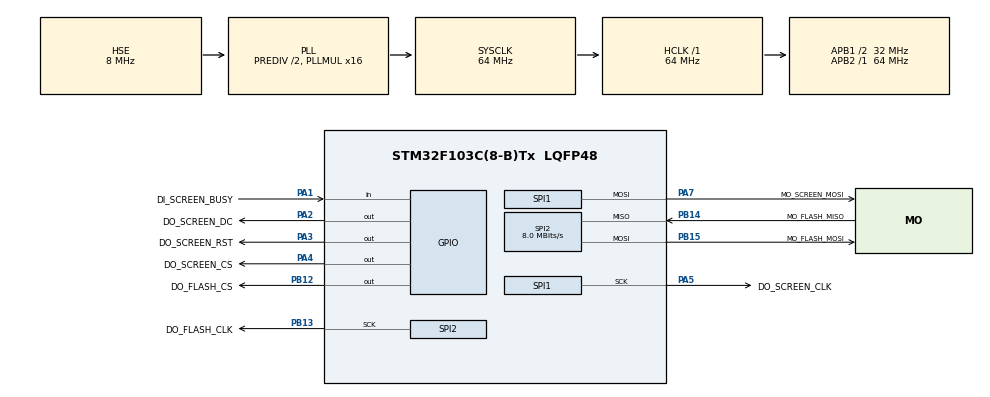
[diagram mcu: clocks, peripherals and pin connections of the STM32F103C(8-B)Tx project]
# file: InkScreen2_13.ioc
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Mcu.Family=STM32F1
Mcu.Name=STM32F103C(8-B)Tx
Mcu.Package=LQFP48
NVIC.PriorityGroup=NVIC_PRIORITYGROUP_4
PA1.GPIO_Label=DI_SCREEN_BUSY
PA1.Signal=GPIO_Input
PA13.Mode=Serial_Wire
PA13.Signal=SYS_JTMS-SWDIO
PA14.Mode=Serial_Wire
PA14.Signal=SYS_JTCK-SWCLK
PA2.GPIO_Label=DO_SCREEN_DC
PA2.Signal=GPIO_Output
PA3.GPIO_Label=DO_SCREEN_RST
PA3.Signal=GPIO_Output
PA4.GPIO_Label=DO_SCREEN_CS
PA4.PinState=GPIO_PIN_SET
PA4.Signal=GPIO_Output
PA5.GPIO_Label=DO_SCREEN_CLK
PA5.Mode=TX_Only_Simplex_Unidirect_Master
PA5.Signal=SPI1_SCK
PA7.GPIO_Label=MO_SCREEN_MOSI
PA7.Mode=TX_Only_Simplex_Unidirect_Master
PA7.Signal=SPI1_MOSI
PB12.GPIO_Label=DO_FLASH_CS
PB12.PinState=GPIO_PIN_SET
PB12.Signal=GPIO_Output
PB13.GPIO_Label=DO_FLASH_CLK
PB13.Mode=Full_Duplex_Master
PB13.Signal=SPI2_SCK
PB14.GPIO_Label=MO_FLASH_MISO
PB14.Mode=Full_Duplex_Master
PB14.Signal=SPI2_MISO
PB15.GPIO_Label=MO_FLASH_MOSI
PB15.Mode=Full_Duplex_Master
PB15.Signal=SPI2_MOSI
PD0-OSC_IN.Mode=HSE-External-Oscillator
PD0-OSC_IN.Signal=RCC_OSC_IN
PD1-OSC_OUT.Mode=HSE-External-Oscillator
PD1-OSC_OUT.Signal=RCC_OSC_OUT
ProjectManager.HeapSize=0x200
ProjectManager.StackSize=0x1500
ProjectManager.TargetToolchain=MDK-ARM V5.27
RCC.AHBFreq_Value=64000000
RCC.APB1CLKDivider=RCC_HCLK_DIV2
RCC.APB1Freq_Value=32000000
RCC.APB1TimFreq_Value=64000000
RCC.APB2Freq_Value=64000000
RCC.APB2TimFreq_Value=64000000
RCC.HCLKFreq_Value=64000000
RCC.HSEDivPLL=RCC_HSE_PREDIV_DIV2
RCC.PLLMUL=RCC_PLL_MUL16
RCC.PLLSourceVirtual=RCC_PLLSOURCE_HSE
RCC.SYSCLKFreq_VALUE=64000000
RCC.SYSCLKSource=RCC_SYSCLKSOURCE_PLLCLK
RCC.USBFreq_Value=64000000
SPI1.BaudRatePrescaler=SPI_BAUDRATEPRESCALER_32
SPI1.CalculateBaudRate=2.0 MBits/s
SPI1.Direction=SPI_DIRECTION_2LINES
SPI1.Mode=SPI_MODE_MASTER
SPI1.VirtualType=VM_MASTER
SPI2.BaudRatePrescaler=SPI_BAUDRATEPRESCALER_4
SPI2.CLKPhase=SPI_PHASE_2EDGE
SPI2.CLKPolarity=SPI_POLARITY_HIGH
SPI2.CalculateBaudRate=8.0 MBits/s
SPI2.Direction=SPI_DIRECTION_2LINES
SPI2.Mode=SPI_MODE_MASTER
SPI2.VirtualType=VM_MASTER
board=custom

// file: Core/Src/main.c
/* USER CODE BEGIN Header */
/**
  ******************************************************************************
  * @file           : main.c
  * @brief          : Main program body
  ******************************************************************************
  * @attention
  *
  * Copyright (c) 2022 STMicroelectronics.
  * All rights reserved.
  *
  * This software is licensed under terms that can be found in the LICENSE file
  * in the root directory of this software component.
  * If no LICENSE file comes with this software, it is provided AS-IS.
  *
  ******************************************************************************
  */
/* USER CODE END Header */
#include "main.h"
#include "spi.h"
#include "gpio.h"

/* USER CODE BEGIN Includes */
#include "E2213JS0C1.h"
#include "spiFlash.h"
#include "image.h"

#include <string.h>
/* USER CODE END Includes */

void SystemClock_Config(void);

int main(void)
{

  /* MCU Configuration--------------------------------------------------------*/

  /* Reset of all peripherals, Initializes the Flash interface and the Systick. */
  HAL_Init();

  /* Configure the system clock */
  SystemClock_Config();

  /* Initialize all configured peripherals */
  MX_GPIO_Init();
  MX_SPI1_Init();
  MX_SPI2_Init();
  /* USER CODE BEGIN 2 */
  /* 初始化墨水屏 */
  E2213JS0C1_Init(0);
  /* 显示图片测试 */
  E2213JS0C1_DrawImage(0, 0, 104, 212, gImage_1);
  E2213JS0C1_RefreshScreen();
  HAL_Delay(3000);
  /* 显示点、线、矩形、ASCII字符、bpm图片测试 */
  E2213JS0C1_ClearFullScreen(WHITE);
  E2213JS0C1_DrawPoint(0, 0, RED);
  E2213JS0C1_DrawLine(0, 2, 10, HORIZONTAL, BLACK);
  E2213JS0C1_DrawLine(0, 4, 10, VERTICAL, BLACK);
  E2213JS0C1_DrawRectangle(0, 16, 10, 10, SOLID, BLACK, RED);
  E2213JS0C1_DrawRectangle(20, 16, 10, 10, HOLLOW, BLACK, RED);
  E2213JS0C1_ShowCharStr(0, 30, BLACK, WHITE, FONT_1608, "FONT TEST");
  E2213JS0C1_DrawBmp(0, 50, 104, 41, BLACK, WHITE, BmpImage);
  E2213JS0C1_ShowCharStr(0, 100, BLACK, WHITE, FONT_1608, "UID:112222162");
  E2213JS0C1_ShowCharStr(20, 116, BLACK, WHITE, FONT_1608, "Designed");
  E2213JS0C1_ShowCharStr(44, 132, BLACK, WHITE, FONT_1608, "By");
  E2213JS0C1_ShowCharStr(40, 148, BLACK, WHITE, FONT_1608, "BYT");
  /* 固件版本 */
  E2213JS0C1_ShowCharStr(0, 195, BLACK, WHITE, FONT_1608, "FV:");
  E2213JS0C1_ShowCharStr(25, 195, BLACK, WHITE, FONT_1608, FIRMWARE_VERSION);
  E2213JS0C1_RefreshScreen();
#if EXTERNAL_SPI_FLASH_CONFIG == ENABLE
  /* 初始化Flash */
  SPI_FLASH_Init();
  /* 读取Flash ID，用于确认Flash是否存在，如果检测不到Flash就会卡死不显示 */
  uint32_t id = SPI_FLASH_ReadID();
  /* Flash型号正确 */
  if (id == SPI_FLASH_ID)
  {
      /* 之前的画面停留3S */
      HAL_Delay(3000);

      /* Flash中的三色图显示测试 */
      E2213JS0C1_DrawImageFromFlash(0, 0, WIDTH_IMAGE, HEIGHT_IMAGE, ADDR_IMAGE_START);
      E2213JS0C1_RefreshScreen();
      HAL_Delay(3000);

      E2213JS0C1_ClearFullScreen(WHITE);
      /* Flash中的bmp图片显示测试 */
      E2213JS0C1_DrawBmpFromFlash(0, 20, WIDTH_BMP, HEIGHT_BMP, RED, WHITE, ADDR_BMP_START);
      /* Flash中的中文、ASCII字符显示测试 */
      uint8_t chinese[] = {0xB2, 0xBB, 0xB0, 0xAE, 0xBA, 0xFA, 0xC2, 0xDC, 0xB2, 0xB7, 0xB5, 0xC4, 0x00};
      uint8_t chinese2[] ={0xB2, 0xD6, 0xCA, 0xF3, 0x00};
      E2213JS0C1_ShowGBKFontOrAsciiFromFlash(5, 90, BLACK, WHITE, FONT_16, chinese);
      E2213JS0C1_ShowGBKFontOrAsciiFromFlash(37, 110, BLACK, WHITE, FONT_16, chinese2);
      uint8_t ascii[] = {0x55, 0x49, 0x44, 0x3A, 0x31, 0x31, 0x32, 0x32, 0x32, 0x32, 0x31, 0x36, 0x32, 0x00};
      E2213JS0C1_ShowGBKFontOrAsciiFromFlash(5, 140, BLACK, WHITE, FONT_16, ascii);

      /* 固件版本 */
      uint8_t xPos = E2213JS0C1_ShowGBKFontOrAsciiFromFlash(0,195,BLACK,WHITE, FONT_16,"FV:");
      E2213JS0C1_ShowGBKFontOrAsciiFromFlash(xPos,195,BLACK,WHITE, FONT_16,FIRMWARE_VERSION);

      E2213JS0C1_RefreshScreen();
  }
  /* Flash型号不对 */
  else
  {
      E2213JS0C1_ClearFullScreen(WHITE);
      E2213JS0C1_ShowCharStr(0,80,BLACK,WHITE,FONT_1608,"Incorrect ");
      E2213JS0C1_ShowCharStr(0,100,BLACK,WHITE,FONT_1608,"Flash");
      E2213JS0C1_ShowCharStr(0,120,BLACK,WHITE,FONT_1608,"model");
      E2213JS0C1_RefreshScreen();
  }
#endif
  /* USER CODE END 2 */

  /* Infinite loop */
  while (1)
  {

  }
}

void SystemClock_Config(void)
{
  RCC_OscInitTypeDef RCC_OscInitStruct = {0};
  RCC_ClkInitTypeDef RCC_ClkInitStruct = {0};

  /** Initializes the RCC Oscillators according to the specified parameters
  * in the RCC_OscInitTypeDef structure.
  */
  RCC_OscInitStruct.OscillatorType = RCC_OSCILLATORTYPE_HSE;
  RCC_OscInitStruct.HSEState = RCC_HSE_ON;
  RCC_OscInitStruct.HSEPredivValue = RCC_HSE_PREDIV_DIV2;
  RCC_OscInitStruct.HSIState = RCC_HSI_ON;
  RCC_OscInitStruct.PLL.PLLState = RCC_PLL_ON;
  RCC_OscInitStruct.PLL.PLLSource = RCC_PLLSOURCE_HSE;
  RCC_OscInitStruct.PLL.PLLMUL = RCC_PLL_MUL16;
  if (HAL_RCC_OscConfig(&RCC_OscInitStruct) != HAL_OK)
  {
    Error_Handler();
  }

  /** Initializes the CPU, AHB and APB buses clocks
  */
  RCC_ClkInitStruct.ClockType = RCC_CLOCKTYPE_HCLK|RCC_CLOCKTYPE_SYSCLK
                              |RCC_CLOCKTYPE_PCLK1|RCC_CLOCKTYPE_PCLK2;
  RCC_ClkInitStruct.SYSCLKSource = RCC_SYSCLKSOURCE_PLLCLK;
  RCC_ClkInitStruct.AHBCLKDivider = RCC_SYSCLK_DIV1;
  RCC_ClkInitStruct.APB1CLKDivider = RCC_HCLK_DIV2;
  RCC_ClkInitStruct.APB2CLKDivider = RCC_HCLK_DIV1;

  if (HAL_RCC_ClockConfig(&RCC_ClkInitStruct, FLASH_LATENCY_2) != HAL_OK)
  {
    Error_Handler();
  }
}

void Error_Handler(void)
{
  __disable_irq();
  while (1)
  {
  }
}
